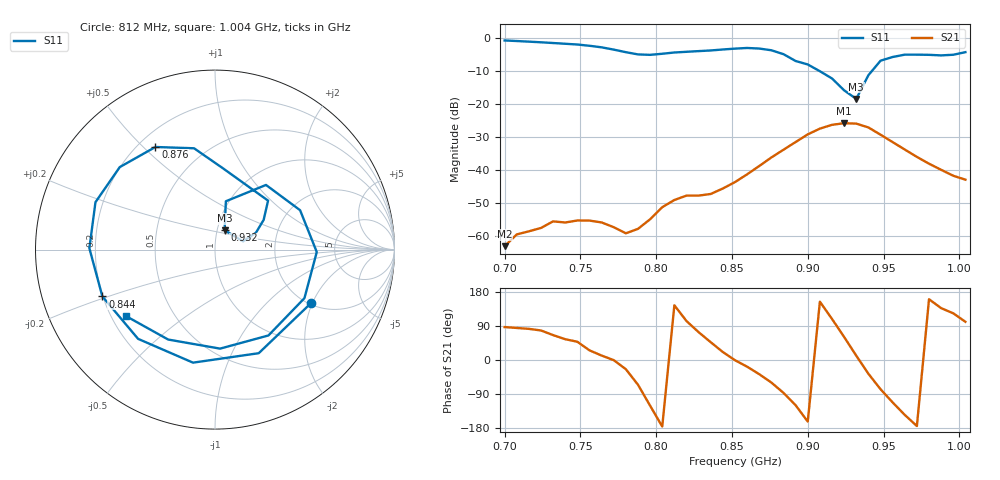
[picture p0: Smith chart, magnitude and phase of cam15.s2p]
# Hz S RI R 50
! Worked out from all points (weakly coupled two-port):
!   39 points, 700 MHz to 1.004 GHz, reference 50 ohm
!   highest |S21| = -25.76 dB at 924 MHz (marker M1); lowest = -63.1 dB at 700 MHz (marker M2)
!   lowest |S11| = -18.4 dB at 932 MHz (marker M3), VSWR 1.27, Z = 54.3 + j11.9 ohm
!   |S11| at or under -10 dB: 908.1 MHz to 942.1 MHz (33.99 MHz wide, 3.67 % of centre)
!   S12 and S22 are empty: the file has one direction only
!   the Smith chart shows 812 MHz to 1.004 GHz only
!   S11 on the Smith chart (normalised r, x): 812 MHz: 2.03, -1.95; 844 MHz: 0.20, -0.19; 876 MHz: 0.27, +0.54; 932 MHz: 1.09, +0.24; 1.004 GHz: 0.26, -0.31
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7e8  0.7643 0.5327  3.77e-05 0.000698  0 0  0 0
7.24e8  0.8346 -0.2596  0.000276 0.00129  0 0  0 0
7.4e8  0.4434 -0.7017  0.00092 0.00131  0 0  0 0
7.56e8  -0.1972 -0.7481  0.00154 0.000736  0 0  0 0
7.72e8  -0.6507 -0.1851  0.00136 -9.33e-06  0 0  0 0
7.8e8  -0.5732 0.2311  0.000999 -0.000452  0 0  0 0
7.88e8  -0.2224 0.5268  0.000536 -0.00116  0 0  0 0
7.96e8  0.2615 0.4989  -0.000914 -0.00154  0 0  0 0
8.04e8  0.5674 0.1419  -0.00272 -0.000211  0 0  0 0
8.12e8  0.5329 -0.3002  -0.00286 0.00205  0 0  0 0
8.28e8  -0.1225 -0.6299  0.00117 0.00393  0 0  0 0
8.44e8  -0.6276 -0.2608  0.00491 0.00188  0 0  0 0
8.52e8  -0.7 0.00767  0.00657 -6.59e-05  0 0  0 0
8.76e8  -0.3318 0.5717  0.00789 -0.0134  0 0  0 0
9e8  0.2957 0.2728  -0.0333 -0.0105  0 0  0 0
9.08e8  0.2711 0.1656  -0.0383 0.0187  0 0  0 0
9.24e8  0.1564 0.0456  0.0252 0.045  0 0  0 0
9.32e8  0.0533 0.1081  0.0498 0.0101  0 0  0 0
9.48e8  0.2841 0.3602  0.00777 -0.0336  0 0  0 0
9.56e8  0.4742 0.2194  -0.00994 -0.0247  0 0  0 0
9.8e8  0.2978 -0.4783  -0.0118 0.00419  0 0  0 0
1.004e9  -0.495 -0.3708  -0.00135 0.00703  0 0  0 0
